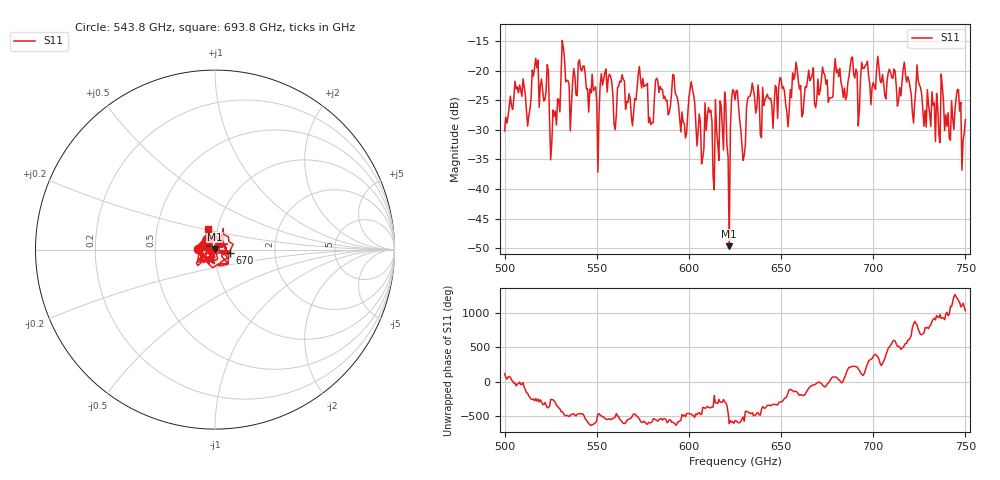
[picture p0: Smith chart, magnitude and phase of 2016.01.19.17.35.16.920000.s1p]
!Created with skrf (http://scikit-rf.org).
# GHz S RI R 50.0
!freq ReS11 ImS11
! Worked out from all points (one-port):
!   401 points, 500 GHz to 750 GHz, reference 50 ohm
!   lowest |S11| = -49.7 dB at 621.9 GHz (marker M1), VSWR 1.01, Z = 49.9 + j0.314 ohm
!   |S11| at or under -10 dB: start of sweep to end of sweep
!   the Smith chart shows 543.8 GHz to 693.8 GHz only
!   S11 on the Smith chart (normalised r, x): 543.8 GHz: 0.83, +0.01; 670 GHz: 1.18, -0.04; 693.8 GHz: 0.91, +0.21
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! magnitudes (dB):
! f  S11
! 500 GHz  -30.2
! 506.9 GHz  -22.7
! 513.1 GHz  -27.6
! 516.9 GHz  -17.9
! 525.6 GHz  -32.1
! 531.2 GHz  -14.8
! 543.8 GHz  -20.5
! 550 GHz  -25.4
! 562.5 GHz  -21.7
! 570 GHz  -27.0
! 573.8 GHz  -21.5
! 579.4 GHz  -29.1
! 583.1 GHz  -21.7
! 593.8 GHz  -24.6
! 598.1 GHz  -31.4
! 601.9 GHz  -23.1
! 614.4 GHz  -24.9
! 618.8 GHz  -33.4
! 621.9 GHz  -49.7
! 625 GHz  -24.9
! 629.4 GHz  -35.2
! 633.8 GHz  -23.6
! 656.2 GHz  -20.3
! 670 GHz  -21.4
! 687.5 GHz  -19.2
! 693.8 GHz  -18.5
! 718.8 GHz  -21.0
! 750 GHz  -28.3
